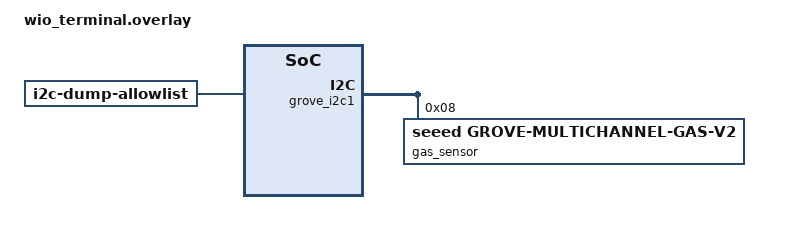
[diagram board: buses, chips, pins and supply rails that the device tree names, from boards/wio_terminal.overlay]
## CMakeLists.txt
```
#cmake_minimum_required(VERSION 3.13.1)
#find_package(Zephyr REQUIRED HINTS $ENV{ZEPHYR_BASE})

#project(app LANGUAGES C CXX) # Keep C CXX as you have .cpp files

# Add global include directories for your application sources
# Note: Using target_include_directories is generally preferred over include_directories
#target_include_directories(app PRIVATE
#    ${CMAKE_CURRENT_SOURCE_DIR} # This refers to your app/ directory
#    ${CMAKE_CURRENT_SOURCE_DIR}/include
#    #${CMAKE_CURRENT_SOURCE_DIR}/tflite-model
#    ${CMAKE_CURRENT_SOURCE_DIR}/model-parameters
#    # ADD THIS LINE: Point to the project's top-level include directory
#    ${WEST_TOPDIR}/include
#)


#target_sources(app PRIVATE
#        src/main.c
#        src/sensor_acquisition.c
#        src/inference.cpp
#        )

#target_sources_ifdef(CONFIG_DISPLAY app PRIVATE
#        src/gui.c
#        src/gui_screens/live_chart.c
#        )

#target_sources_ifdef(CONFIG_APP_MQTT app PRIVATE
#        src/mqtt.c
#        )

#include(edge-impulse-sdk/cmake/utils.cmake)

# Add the Edge Impulse SDK
#add_subdirectory(edge-impulse-sdk/cmake/zephyr)

# Add model sources
#target_sources(app PRIVATE
#    tflite-model/tflite_learn_143_compiled.cpp
#    )

# The old 'set(INCLUDES ...)' and 'include_directories(${INCLUDES})' block should be removed.
# set(INCLUDES
#     .
#     include
#     tflite-model
#     model-parameters
#     )
# include_directories(${INCLUDES})

# Link with Zephyr interface library (provides Zephyr headers, module headers, etc.)
#target_link_libraries(app PRIVATE zephyr_interface)

#-------------------------------------------------------------------------------
# Zephyr Example Application
#
# Copyright (c) 2021 Nordic Semiconductor ASA
# SPDX-License-Identifier: Apache-2.0

cmake_minimum_required(VERSION 3.13.1)
find_package(Zephyr REQUIRED HINTS $ENV{ZEPHYR_BASE})

project(app LANGUAGES C CXX)

target_sources(app PRIVATE
        src/main.c
        src/sensor_acquisition.c
        src/inference.cpp
        )

target_sources_ifdef(CONFIG_DISPLAY app PRIVATE
        src/gui.c
        src/gui_screens/live_chart.c
        )

target_sources_ifdef(CONFIG_APP_MQTT app PRIVATE
        src/mqtt.c
        )

include(edge-impulse-sdk/cmake/utils.cmake)

# Add the Edge Impulse SDK
add_subdirectory(edge-impulse-sdk/cmake/zephyr)

# Add model sources
target_sources(app PRIVATE
    tflite-model/tflite_learn_143_compiled.cpp
    )

# Edge impulse SDK include directories
set(INCLUDES
    .
    include
    tflite-model
    model-parameters
    ${CMAKE_SOURCE_DIR}/../include/drivers/sensor/multichannel_gas_v2
    )
include_directories(${INCLUDES})
```

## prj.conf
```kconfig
CONFIG_I2C=y
CONFIG_SENSOR=y
CONFIG_RING_BUFFER=y

CONFIG_SHELL=y
CONFIG_SENSOR_SHELL=y
# General logging stuff
CONFIG_LOG=y
CONFIG_APP_LOG_LEVEL_ERR=y
CONFIG_LOG_BUFFER_SIZE=2048
# I2C logging
# CONFIG_I2C_DUMP_MESSAGES=y
# CONFIG_I2C_LOG_LEVEL_DBG=y
# CONFIG_I2C_DUMP_MESSAGES_ALLOWLIST=y

# Edge Impulse
CONFIG_CPP=y
CONFIG_REQUIRES_FULL_LIBCPP=y

# GUI (OBSOLETE)
CONFIG_DISPLAY=y
CONFIG_DISPLAY_INIT_PRIORITY=90
CONFIG_LVGL=y
CONFIG_LV_CONF_MINIMAL=y # by using minimal config, we can only use the features we need and save
                         # 10s of KB of ROM
#CONFIG_LV_DRAW_COMPLEX=y
# Réglages de LVGL
#CONFIG_LV_MEM_CUSTOM=y
#CONFIG_LV_MEM_POOL_HEAP_KBYTES=32
CONFIG_LV_Z_BITS_PER_PIXEL=16
CONFIG_LV_COLOR_16_SWAP=y
CONFIG_LV_Z_MEM_POOL_SIZE=32768

CONFIG_DISPLAY_LOG_LEVEL_ERR=y
#CONFIG_LV_MEM_CUSTOM=y
CONFIG_LV_USE_LOG=y
CONFIG_LV_USE_CHART=y
CONFIG_LV_USE_LABEL=y
CONFIG_LV_USE_LINE=y
#CONFIG_LV_USE_METER=y
CONFIG_LV_USE_SLIDER=y
CONFIG_LV_USE_ARC=y
#CONFIG_LV_USE_BTN=y
CONFIG_LV_FONT_MONTSERRAT_14=y
CONFIG_LV_FONT_MONTSERRAT_8=y
CONFIG_LV_FONT_DEFAULT_MONTSERRAT_14=y
CONFIG_LV_USE_THEME_DEFAULT=y

# LVGL Configuration for modern Zephyr

CONFIG_LV_FONT_MONTSERRAT_24=y
CONFIG_LV_FONT_DEFAULT_MONTSERRAT_24=y
#CONFIG_LVGL_DISPLAY_DEV_NAME="ILI9341"


# zbus for inter-thread communication
CONFIG_ZBUS=y
CONFIG_ZBUS_RUNTIME_OBSERVERS=y
CONFIG_ZBUS_CHANNEL_NAME=y
CONFIG_ZBUS_LOG_LEVEL_WRN=y

# Networking
CONFIG_NETWORKING=y
CONFIG_NET_TCP=y
CONFIG_HWINFO=y

#CONFIG_GROVE_MULTICHANNEL_GAS_SENSOR_V2=y
```

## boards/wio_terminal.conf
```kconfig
#CONFIG_SYS_CLOCK_HW_CYCLES_PER_SEC=200000000
CONFIG_GROVE_MULTICHANNEL_GAS_SENSOR_V2=y
CONFIG_SENSOR=y
```

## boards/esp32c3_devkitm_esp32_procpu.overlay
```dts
/ {
        chosen {
                zephyr,display = &ili9341;
        };
};

&spi2 {
        ili9341: ili9341@0 {
                compatible = "ilitek,ili9341";
                data-cmd-gpios = <&gpio0 0 GPIO_ACTIVE_LOW>;
                reg = <0x0>;
                spi-max-frequency = <25000000>;
                width = <240>;
                height = <320>;
        };
};
```

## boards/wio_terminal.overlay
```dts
&grove_i2c1 {
	status = "okay";

	gas_sensor: gas_sensor@8 {
		status = "okay";
		compatible = "seeed,grove-multichannel-gas-v2";
		reg = <0x08>;
		
	};
};

/ {
	i2c-dump-allowlist {
		compatible = "zephyr,i2c-dump-allowlist";
		devices = <&gas_sensor>;
	};
};

// /* overclock */
// &cpu0 {
// 	clock-frequency = <200000000>;
// };
```

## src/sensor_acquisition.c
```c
#include <zephyr/kernel.h>
#include <zephyr/drivers/sensor.h>
#include <zephyr/sys/ring_buffer.h>
#include <zephyr/sys/byteorder.h>
#include <zephyr/random/random.h>

#include "grove_multichannel_gas_v2.h"
#include "sensor_acquisition.h"

#include "model-parameters/model_metadata.h"

#include <zephyr/logging/log.h>
LOG_MODULE_REGISTER(sensor_thread, CONFIG_APP_LOG_LEVEL);

#if DT_HAS_COMPAT_STATUS_OKAY(seeed_grove_multichannel_gas_v2)
const struct device *gas_sensor = DEVICE_DT_GET_ONE(seeed_grove_multichannel_gas_v2);
#else
const struct device *gas_sensor = NULL;
#endif

RING_BUF_DECLARE(sensor_data_ringbuf, EI_CLASSIFIER_DSP_INPUT_FRAME_SIZE * sizeof(uint32_t));
K_SEM_DEFINE(sensor_data_ringbuf_sem, 1, 1);

/**
 * Entry point for the sensor acquisition thread.
 *
 * This thread is responsible for fetching sensor data from the gas sensor and storing it in a
 * ring buffer.
 */
void sensor_acquisition_fn(void *arg1, void *arg2, void *arg3)
{
	ARG_UNUSED(arg1);
	ARG_UNUSED(arg2);
	ARG_UNUSED(arg3);

	struct sensor_value values[4];

	if (gas_sensor != NULL && !device_is_ready(gas_sensor)) {
		LOG_ERR("Gas sensor %s is not ready\n", gas_sensor->name);
		while (1) {
		}
	}

	while (1) {
		k_sleep(K_MSEC(EI_CLASSIFIER_INTERVAL_MS));

#if DT_HAS_COMPAT_STATUS_OKAY(seeed_grove_multichannel_gas_v2)

		if (sensor_sample_fetch(gas_sensor)) {
			LOG_ERR("Failed to fetch sample\n");
		}

		sensor_channel_get(gas_sensor, SENSOR_CHAN_NO2, &values[0]);
		sensor_channel_get(gas_sensor, SENSOR_CHAN_CO, &values[1]);
		sensor_channel_get(gas_sensor, SENSOR_CHAN_C2H5OH, &values[2]);
		sensor_channel_get(gas_sensor, SENSOR_CHAN_VOC, &values[3]);
#else
		values[0].val1 = 200 + sys_rand32_get() % 60 - 30;
		values[1].val1 = 10 + sys_rand32_get() % 5 - 2;
		values[2].val1 = 30 + sys_rand32_get() % 10 - 5;
		values[3].val1 = 4 + sys_rand32_get() % 2 - 1;
#endif

		k_sem_take(&sensor_data_ringbuf_sem, K_FOREVER);

		/* If buffer is full, remove the oldest set of samples */
		if (ring_buf_space_get(&sensor_data_ringbuf) == 0) {
			ring_buf_get(&sensor_data_ringbuf, NULL, 4 * 4);
		}

#ifdef CONFIG_APP_PRINT_SENSOR_VALUES
		printk("%d,%d,%d,%d\n", values[0].val1, values[1].val1, values[2].val1,
		       values[3].val1);
#endif

		uint8_t no2[4] = sys_uint32_to_array(values[0].val1);
		ring_buf_put(&sensor_data_ringbuf, no2, 4);

		uint8_t co[4] = sys_uint32_to_array(values[1].val1);
		ring_buf_put(&sensor_data_ringbuf, co, 4);

		uint8_t c2h5oh[4] = sys_uint32_to_array(values[2].val1);
		ring_buf_put(&sensor_data_ringbuf, c2h5oh, 4);

		uint8_t voc[4] = sys_uint32_to_array(values[3].val1);
		ring_buf_put(&sensor_data_ringbuf, voc, 4);

		k_sem_give(&sensor_data_ringbuf_sem);
	}
}
```
